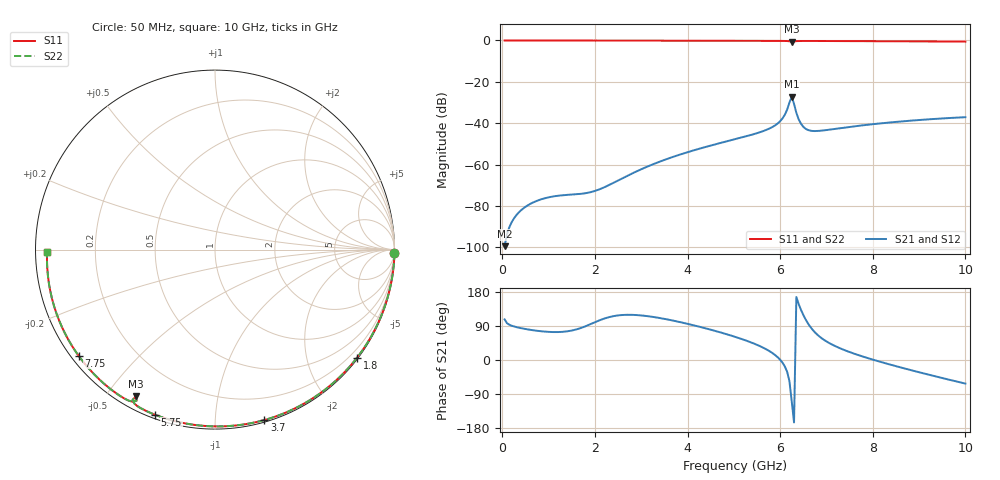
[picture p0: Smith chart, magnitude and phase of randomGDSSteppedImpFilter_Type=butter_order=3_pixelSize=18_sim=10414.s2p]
! freq	dB(S11)	phase(S11)	dB(S12)	phase(S12)
!  dB(S21)	phase(S21)	dB(S22)	phase(S22)
!S-par simulation data
#  GHz  S  DB  R 50
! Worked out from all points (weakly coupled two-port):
!   200 points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, 50 MHz to 10 GHz, reference 50 ohm
!   highest |S21| = -27.23 dB at 6.25 GHz (marker M1); lowest = -99.4 dB at 50 MHz (marker M2)
!   lowest |S11| = -0.7 dB at 6.25 GHz (marker M3), VSWR 26.22, Z = 2.59 - j29.8 ohm
!   |S11| at or under -10 dB: nowhere
!   |S22| runs from -0.7 to 0.0 dB; largest |S21 - S12| = 0
!   S11 on the Smith chart (normalised r, x): 50 MHz: open; 1.8 GHz: 0.03, -2.97; 3.7 GHz: 0.02, -1.33; 5.75 GHz: 0.02, -0.70; 7.75 GHz: 0.02, -0.34; 10 GHz: 0.03, -0.01
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0.05  -0.00 -1.1  -99.44 107.3  -99.44 107.3  -0.00 -1.1
0.5  -0.01 -10.5  -80.42 81.8  -80.42 81.8  -0.01 -10.5
1  -0.03 -20.9  -75.83 74.2  -75.83 74.2  -0.03 -20.9
1.75  -0.05 -36.2  -73.99 86.8  -73.99 86.8  -0.05 -36.2
1.8  -0.05 -37.2  -73.82 89.2  -73.82 89.2  -0.05 -37.2
2.15  -0.06 -44.2  -71.49 107.1  -71.49 107.1  -0.06 -44.2
3.4  -0.09 -68.3  -58.58 110.8  -58.58 110.8  -0.09 -68.3
3.7  -0.10 -73.9  -56.17 103.7  -56.17 103.7  -0.10 -73.9
5.05  -0.15 -97.9  -47.61 60.2  -47.61 60.2  -0.15 -97.9
5.75  -0.19 -110.0  -42.76 24.8  -42.76 24.8  -0.19 -110.0
5.9  -0.20 -112.6  -40.91 12.2  -40.91 12.2  -0.20 -112.6
6.05  -0.22 -115.4  -37.71 -6.9  -37.71 -6.9  -0.22 -115.4
6.15  -0.27 -117.5  -33.49 -30.8  -33.49 -30.8  -0.27 -117.5
6.25  -0.66 -118.3  -27.23 -109.0  -27.23 -109.0  -0.66 -118.3
6.35  -0.32 -118.5  -34.99 166.4  -34.99 166.4  -0.32 -118.5
6.45  -0.26 -120.6  -40.27 132.2  -40.27 132.2  -0.26 -120.6
6.55  -0.25 -122.4  -42.68 107.1  -42.68 107.1  -0.25 -122.4
6.7  -0.25 -125.0  -43.75 80.0  -43.75 80.0  -0.25 -125.0
7.75  -0.33 -142.2  -41.10 10.5  -41.10 10.5  -0.33 -142.2
8.35  -0.38 -151.8  -39.68 -11.3  -39.68 -11.3  -0.38 -151.8
9.2  -0.48 -165.7  -38.13 -38.5  -38.13 -38.5  -0.48 -165.7
10  -0.58 -179.1  -37.09 -62.3  -37.09 -62.3  -0.58 -179.1
